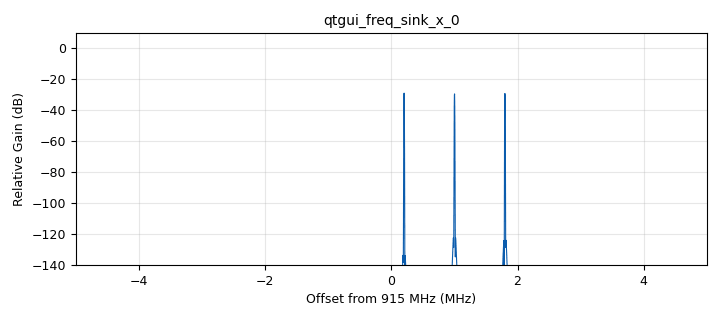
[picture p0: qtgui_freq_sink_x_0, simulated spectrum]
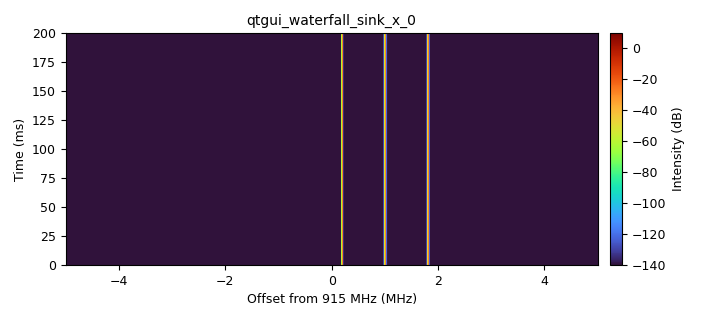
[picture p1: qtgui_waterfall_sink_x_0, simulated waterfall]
<?xml version='1.0' encoding='utf-8'?>
<?grc format='1' created='3.7.11'?>
<flow_graph>
<block>
<key>options</key>
<param><key>id</key><value>top_block</value></param>
<param><key>category</key><value>Custom</value></param>
<param><key>generate_options</key><value>qt_gui</value></param>
</block>
<block>
<key>variable</key>
<param><key>id</key><value>center_freq</value></param>
<param><key>value</key><value>int(915E6)</value></param>
</block>
<block>
<key>variable_qtgui_range</key>
<param><key>id</key><value>qt_gain</value></param>
<param><key>value</key><value>0.2</value></param>
<param><key>orient</key><value>Qt.Horizontal</value></param>
<param><key>start</key><value>0</value></param>
<param><key>step</key><value>0.01</value></param>
<param><key>stop</key><value>1</value></param>
</block>
<block>
<key>variable</key>
<param><key>id</key><value>samp_rate</value></param>
<param><key>value</key><value>int(10E6)</value></param>
</block>
<block>
<key>variable_qtgui_range</key>
<param><key>id</key><value>signal_amplitude</value></param>
<param><key>value</key><value>0.1</value></param>
<param><key>orient</key><value>Qt.Horizontal</value></param>
<param><key>start</key><value>0</value></param>
<param><key>step</key><value>0.01</value></param>
<param><key>stop</key><value>1</value></param>
</block>
<block>
<key>variable_qtgui_range</key>
<param><key>id</key><value>variable_qtgui_range_0</value></param>
<param><key>value</key><value>1E6</value></param>
<param><key>orient</key><value>Qt.Horizontal</value></param>
<param><key>start</key><value>-15E6</value></param>
<param><key>step</key><value>1000</value></param>
<param><key>stop</key><value>15E6</value></param>
</block>
<block>
<key>analog_sig_source_x</key>
<param><key>id</key><value>analog_sig_source_x_0</value></param>
<param><key>amp</key><value>signal_amplitude</value></param>
<param><key>freq</key><value>variable_qtgui_range_0+800E3</value></param>
<param><key>offset</key><value>0</value></param>
<param><key>type</key><value>complex</value></param>
<param><key>samp_rate</key><value>samp_rate</value></param>
<param><key>waveform</key><value>analog.GR_COS_WAVE</value></param>
</block>
<block>
<key>analog_sig_source_x</key>
<param><key>id</key><value>analog_sig_source_x_0_0</value></param>
<param><key>amp</key><value>signal_amplitude</value></param>
<param><key>freq</key><value>variable_qtgui_range_0</value></param>
<param><key>offset</key><value>0</value></param>
<param><key>type</key><value>complex</value></param>
<param><key>samp_rate</key><value>samp_rate</value></param>
<param><key>waveform</key><value>analog.GR_COS_WAVE</value></param>
</block>
<block>
<key>analog_sig_source_x</key>
<param><key>id</key><value>analog_sig_source_x_0_0_0</value></param>
<param><key>amp</key><value>signal_amplitude</value></param>
<param><key>freq</key><value>variable_qtgui_range_0-800E3</value></param>
<param><key>offset</key><value>0</value></param>
<param><key>type</key><value>complex</value></param>
<param><key>samp_rate</key><value>samp_rate</value></param>
<param><key>waveform</key><value>analog.GR_COS_WAVE</value></param>
</block>
<block>
<key>blocks_add_xx</key>
<param><key>id</key><value>blocks_add_xx_0</value></param>
<param><key>type</key><value>complex</value></param>
<param><key>num_inputs</key><value>3</value></param>
</block>
<block>
<key>blocks_null_sink</key>
<param><key>id</key><value>blocks_null_sink_0</value></param>
<param><key>bus_conns</key><value>[[0,],]</value></param>
<param><key>_enabled</key><value>0</value></param>
<param><key>type</key><value>complex</value></param>
</block>
<block>
<key>qtgui_freq_sink_x</key>
<param><key>id</key><value>qtgui_freq_sink_x_0</value></param>
<param><key>bw</key><value>samp_rate</value></param>
<param><key>fc</key><value>center_freq</value></param>
<param><key>fftsize</key><value>1024*4</value></param>
<param><key>showports</key><value>True</value></param>
<param><key>type</key><value>complex</value></param>
<param><key>wintype</key><value>firdes.WIN_BLACKMAN_hARRIS</value></param>
</block>
<block>
<key>qtgui_waterfall_sink_x</key>
<param><key>id</key><value>qtgui_waterfall_sink_x_0</value></param>
<param><key>bw</key><value>samp_rate</value></param>
<param><key>fc</key><value>center_freq</value></param>
<param><key>fftsize</key><value>1024*4</value></param>
<param><key>showports</key><value>True</value></param>
<param><key>type</key><value>complex</value></param>
<param><key>wintype</key><value>firdes.WIN_BLACKMAN_hARRIS</value></param>
</block>
<block>
<key>uhd_usrp_sink</key>
<param><key>id</key><value>uhd_usrp_sink_0</value></param>
<param><key>ant0</key><value>TX/RX</value></param>
<param><key>bw0</key><value>samp_rate/2</value></param>
<param><key>center_freq0</key><value>0</value></param>
<param><key>norm_gain0</key><value>True</value></param>
<param><key>gain0</key><value>qt_gain</value></param>
<param><key>clock_rate</key><value>0.0</value></param>
<param><key>dev_args</key><value>""</value></param>
<param><key>_enabled</key><value>0</value></param>
<param><key>type</key><value>fc32</value></param>
<param><key>clock_source0</key><value>internal</value></param>
<param><key>sd_spec0</key><value>A:0</value></param>
<param><key>samp_rate</key><value>samp_rate</value></param>
<param><key>hide_cmd_port</key><value>False</value></param>
<param><key>hide_lo_controls</key><value>True</value></param>
<param><key>sync</key><value></value></param>
<param><key>len_tag_name</key><value></value></param>
</block>
<connection><source_block_id>analog_sig_source_x_0</source_block_id><sink_block_id>blocks_add_xx_0</sink_block_id><source_key>0</source_key><sink_key>0</sink_key></connection>
<connection><source_block_id>analog_sig_source_x_0_0</source_block_id><sink_block_id>blocks_add_xx_0</sink_block_id><source_key>0</source_key><sink_key>1</sink_key></connection>
<connection><source_block_id>analog_sig_source_x_0_0_0</source_block_id><sink_block_id>blocks_add_xx_0</sink_block_id><source_key>0</source_key><sink_key>2</sink_key></connection>
<connection><source_block_id>blocks_add_xx_0</source_block_id><sink_block_id>qtgui_freq_sink_x_0</sink_block_id><source_key>0</source_key><sink_key>0</sink_key></connection>
<connection><source_block_id>blocks_add_xx_0</source_block_id><sink_block_id>qtgui_waterfall_sink_x_0</sink_block_id><source_key>0</source_key><sink_key>0</sink_key></connection>
<connection><source_block_id>blocks_add_xx_0</source_block_id><sink_block_id>uhd_usrp_sink_0</sink_block_id><source_key>0</source_key><sink_key>0</sink_key></connection>
</flow_graph>
